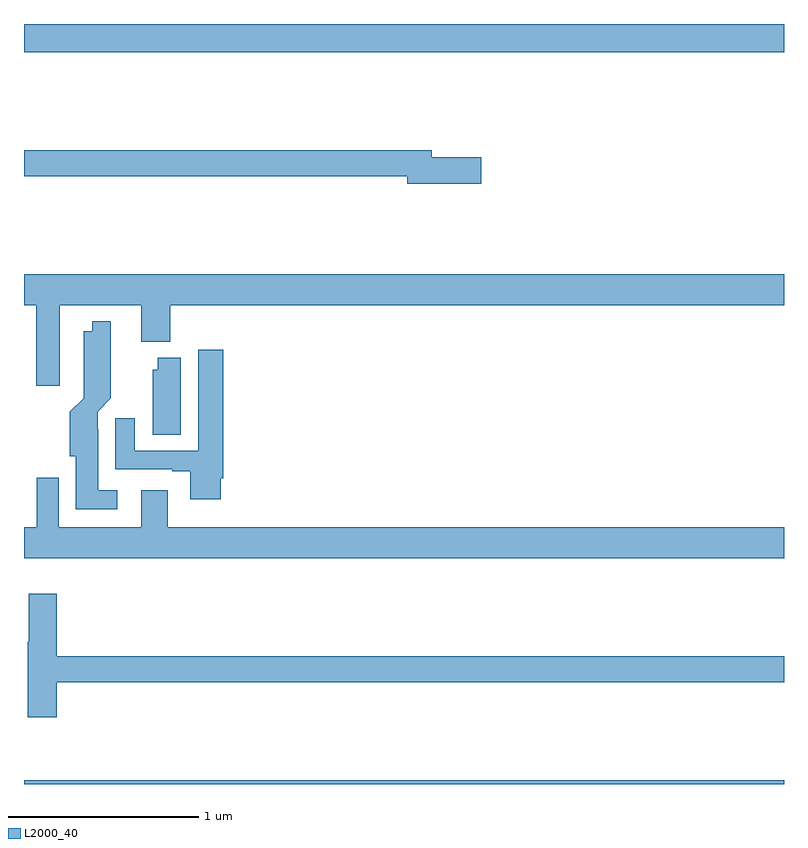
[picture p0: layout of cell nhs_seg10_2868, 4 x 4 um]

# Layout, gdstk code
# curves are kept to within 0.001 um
import gdstk
lib = gdstk.Library(unit=1e-6, precision=1e-09)
def R(c, l, rs):  # rectangles x0, y0, x1, y1
    for r in rs: c.add(gdstk.rectangle(r[:2], r[2:], *l))
def P(c, l, *ps):  # polygons
    for p in ps: c.add(gdstk.Polygon(p, *l))
L2000_40 = (2000, 40)

nhs_seg10_2868 = lib.new_cell('nhs_seg10_2868')
R(nhs_seg10_2868, L2000_40, [(267,1260.5,271,1260.52), (267,1264.352,271,1264.5)])
P(nhs_seg10_2868, L2000_40, [(269.407,1263.8),(269.146,1263.8),(269.146,1263.836),(267,1263.836),(267,1263.7),(269.018,1263.7),(269.018,1263.658),(269.407,1263.658)],
  [(267.187,1263.02),(267.617,1263.02),(267.617,1262.828),(267.77,1262.828),(267.77,1263.02),(271,1263.02),(271,1263.184),(267,1263.184),(267,1263.02),(267.065,1263.02),(267.065,1262.595),(267.187,1262.595)],
  [(267.49,1262.047),(267.391,1262.047),(267.391,1262.366),(267.387,1262.366),(267.387,1262.46),(267.457,1262.53),(267.456,1262.935),(267.359,1262.935),(267.359,1262.884),(267.314,1262.884),(267.314,1262.53),(267.242,1262.458),(267.242,1262.226),(267.272,1262.226),(267.272,1261.946),(267.49,1261.946)],
  [(268.036,1262.11),(268.049,1262.11),(268.049,1262.785),(267.917,1262.785),(267.917,1262.253),(267.583,1262.253),(267.583,1262.425),(267.479,1262.425),(267.479,1262.157),(267.779,1262.157),(267.779,1262.145),(267.875,1262.145),(267.875,1261.998),(268.036,1261.998)],
  [(267.826,1262.743),(267.704,1262.743),(267.704,1262.679),(267.677,1262.679),(267.677,1262.338),(267.826,1262.338)],
  [(271,1261.852),(267.757,1261.852),(267.757,1262.047),(267.617,1262.047),(267.617,1261.852),(267.183,1261.852),(267.183,1262.113),(267.067,1262.113),(267.067,1261.852),(267,1261.852),(267,1261.688),(271,1261.688)],
  [(267.173,1261.036),(271,1261.036),(271,1261.172),(267.173,1261.172),(267.173,1261.501),(267.026,1261.501),(267.026,1261.249),(267.019,1261.249),(267.019,1260.852),(267.173,1260.852)])

lib.write_gds('nhs_seg10_2868.gds')
